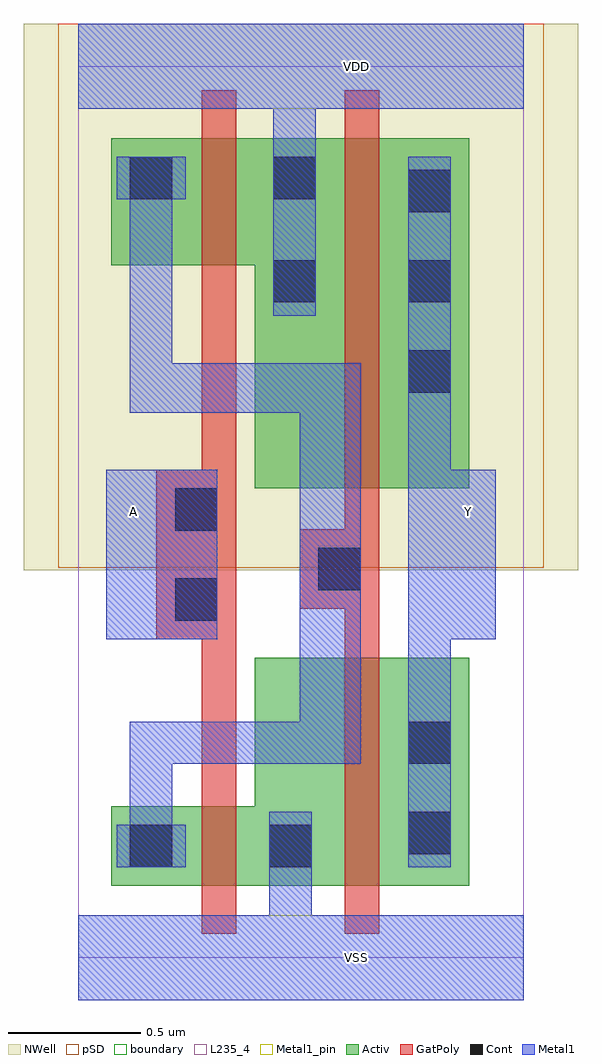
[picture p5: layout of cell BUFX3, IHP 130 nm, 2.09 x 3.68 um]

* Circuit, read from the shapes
.subckt BUFX3 A VDD VSS Y
XM1 VSS A n1 VSUBS sg13_lv_nmos w=0.3u l=0.13u
XM2 Y n1 VSS VSUBS sg13_lv_nmos w=0.86u l=0.13u
XM3 VDD A n1 n2 sg13_lv_pmos w=0.48u l=0.13u
XM4 Y n1 VDD n2 sg13_lv_pmos w=1.32u l=0.13u
.ends

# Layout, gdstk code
import gdstk
lib = gdstk.Library(unit=1e-6, precision=1e-09)
def R(c, l, rs):  # rectangles x0, y0, x1, y1
    for r in rs: c.add(gdstk.rectangle(r[:2], r[2:], *l))
def A(c, l, x, y, w, h, nx, ny, dx, dy):  # array of equal rectangles
    R(c, l, [(x+i*dx, y+j*dy, x+i*dx+w, y+j*dy+h) for i in range(nx) for j in range(ny)])
def P(c, l, *ps):  # polygons
    for p in ps: c.add(gdstk.Polygon(p, *l))
Activ = (1, 0)
GatPoly = (5, 0)
Cont = (6, 0)
Metal1 = (8, 0)
Metal1_pin = (8, 2)
pSD = (14, 0)
NWell = (31, 0)
boundary = (189, 4)
L235_4 = (235, 4)

bufx3 = lib.new_cell('BUFX3')
P(bufx3, Activ, [(0.125,0.27),(0.125,0.57),(0.665,0.57),(0.665,1.13),(1.475,1.13),(1.475,0.27)],
  [(0.665,1.77),(0.665,2.61),(0.125,2.61),(0.125,3.09),(1.475,3.09),(1.475,1.77)])
P(bufx3, GatPoly, [(0.465,0.09),(0.465,1.2),(0.295,1.2),(0.295,1.84),(0.465,1.84),(0.465,3.27),(0.595,3.27),(0.595,0.09)],
  [(1.005,0.09),(1.005,1.315),(0.835,1.315),(0.835,1.615),(1.005,1.615),(1.005,3.27),(1.135,3.27),(1.135,0.09)])
A(bufx3, Cont, 1.245, 2.13, 0.16, 0.16, 1, 3, 0, 0.34)
R(bufx3, Cont, [(0.195,0.34,0.355,0.5), (0.72,0.34,0.88,0.5), (1.245,0.39,1.405,0.55), (1.245,0.73,1.405,0.89), (0.365,1.27,0.525,1.43), (0.905,1.385,1.065,1.545), (0.365,1.61,0.525,1.77), (0.735,2.47,0.895,2.63), (0.195,2.86,0.355,3.02), (0.735,2.86,0.895,3.02)])
R(bufx3, Metal1, [(0.105,1.2,0.525,1.84)])
P(bufx3, Metal1, [(1.245,0.34),(1.245,3.02),(1.405,3.02),(1.405,1.84),(1.575,1.84),(1.575,1.2),(1.405,1.2),(1.405,0.34)],
  [(0.735,2.42),(0.735,3.2),(0,3.2),(0,3.52),(1.68,3.52),(1.68,3.2),(0.895,3.2),(0.895,2.42)],
  [(0,-0.16),(0,0.16),(0.72,0.16),(0.72,0.55),(0.88,0.55),(0.88,0.16),(1.68,0.16),(1.68,-0.16)],
  [(0.145,0.34),(0.145,0.5),(0.195,0.5),(0.195,0.89),(0.835,0.89),(0.835,2.055),(0.195,2.055),(0.195,2.86),(0.145,2.86),(0.145,3.02),(0.405,3.02),(0.405,2.86),(0.355,2.86),(0.355,2.24),(1.065,2.24),(1.065,0.73),(0.355,0.73),(0.355,0.5),(0.405,0.5),(0.405,0.34)])
R(bufx3, Metal1_pin, [(0,-0.16,1.68,0.16), (0.105,1.2,0.525,1.84), (1.245,1.2,1.575,1.84), (0,3.2,1.68,3.52)])
P(bufx3, Metal1_pin, [(1.245,0.34),(1.245,3.02),(1.405,3.02),(1.405,1.84),(1.575,1.84),(1.575,1.2),(1.405,1.2),(1.405,0.34)])
R(bufx3, pSD, [(-0.075,1.47,1.755,3.52)])
R(bufx3, NWell, [(-0.205,1.46,1.885,3.52)])
R(bufx3, boundary, [(0,0,1.68,3.36)])
R(bufx3, L235_4, [(0,0,1.68,3.36)])
bufx3.add(gdstk.Label('VSS', (1.05,0), layer=8, texttype=25))
bufx3.add(gdstk.Label('VDD', (1.05,3.36), layer=8, texttype=25))
bufx3.add(gdstk.Label('Y', (1.47,1.68), layer=8, texttype=25))
bufx3.add(gdstk.Label('A', (0.21,1.68), layer=8, texttype=25))

lib.write_gds('BUFX3.gds')
